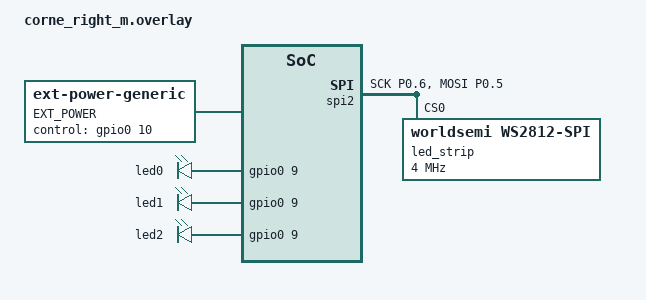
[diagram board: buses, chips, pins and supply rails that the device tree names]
/*
 * Copyright (c) 2020 Pete Johanson
 *
 * SPDX-License-Identifier: MIT
 */

#include "corne.dtsi"

// &default_transform {
//     col-offset = <6>;
// };

// &five_column_transform {
//     col-offset = <6>;
// };
#include <dt-bindings/zmk/hid_indicators.h>
&kscan0 {
     diode-direction = "row2col";
    row-gpios
        = <&gpio0  29 (GPIO_ACTIVE_HIGH)>
        , <&gpio0  30 (GPIO_ACTIVE_HIGH)>
        , <&gpio1  9(GPIO_ACTIVE_HIGH)>
        , <&gpio0 31 (GPIO_ACTIVE_HIGH)>
        ;

    col-gpios
        = <&gpio0 20 (GPIO_ACTIVE_HIGH | GPIO_PULL_DOWN)>
        , <&gpio0 17 (GPIO_ACTIVE_HIGH | GPIO_PULL_DOWN)>
        , <&gpio0 15 (GPIO_ACTIVE_HIGH | GPIO_PULL_DOWN)>
        , <&gpio0 1 (GPIO_ACTIVE_HIGH | GPIO_PULL_DOWN)>
        , <&gpio0 11 (GPIO_ACTIVE_HIGH | GPIO_PULL_DOWN)>
        , <&gpio0 0 (GPIO_ACTIVE_HIGH | GPIO_PULL_DOWN)>
        , <&gpio0 28 (GPIO_ACTIVE_HIGH | GPIO_PULL_DOWN)>
        ;
};


/*** Add support for RGB Underglow @20260910 by TY ***/
/           
{
    chosen {
        // zmk,ext-power = &ex2;
        zmk,underglow = &led_strip;
    };

    EXT_POWER {
        compatible = "zmk,ext-power-generic";
        control-gpios = <&gpio0 3 GPIO_ACTIVE_HIGH>;
        init-delay-ms = <50>;
    };
};

#include <dt-bindings/led/led.h>

&pinctrl {
    spi2_default: spi2_default {
        group1 {
            psels = <
                NRF_PSEL(SPIM_SCK, 0, 6)
                NRF_PSEL(SPIM_MOSI, 0, 5)
            >;
            
        };
    };

    spi2_sleep: spi2_sleep {
        group1 {
             psels = <
                NRF_PSEL(SPIM_SCK, 0, 6)
                NRF_PSEL(SPIM_MOSI, 0, 5)
            >;
            low-power-enable;
        };
    };
};

&spi2 {
    compatible = "nordic,nrf-spim";
    status = "okay";

    pinctrl-0 = <&spi2_default>;
    pinctrl-1 = <&spi2_sleep>;
    pinctrl-names = "default", "sleep";

    led_strip: ws2812@0 {
        compatible = "worldsemi,ws2812-spi";

               reg = <0>; /* ignored, but necessary for SPI bindings */
        spi-max-frequency = <4000000>;

        /* WS2812 */
        chain-length = <23>; /* number of LEDs */
        spi-one-frame = <0x70>;
        spi-zero-frame = <0x40>;
        color-mapping = <LED_COLOR_ID_GREEN
                         LED_COLOR_ID_RED
                         LED_COLOR_ID_BLUE>;
    };
};

/
{
    chosen {
        // zmk,ext-power = &ex2;
        zmk,underglow = &led_strip;
    };

    EXT_POWER {
        compatible = "zmk,ext-power-generic";
        control-gpios = <&gpio0 10 GPIO_ACTIVE_HIGH>;
        init-delay-ms = <50>;
    };
};

/*** Add support for BLELED @20260910 by TY ***/
/ {
    leds {
        compatible = "gpio-leds";

        led0: led_0 {
            gpios = <&gpio0 9 GPIO_ACTIVE_HIGH>;
        };
        led1: led_1 {
            gpios = <&gpio0 9 GPIO_ACTIVE_HIGH>;
        };
        led2: led_2 {
            gpios = <&gpio0 9 GPIO_ACTIVE_HIGH>;
        };
    };

    aliases {
        led0 = &led0;
        led1 = &led1;
        led2 = &led2;
    };
};


/ {
    lfclk: lfclk {
        compatible = "fixed-clock";
        clock-frequency = <32768>;
        #clock-cells = <0>;
        status = "okay";
    };
};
